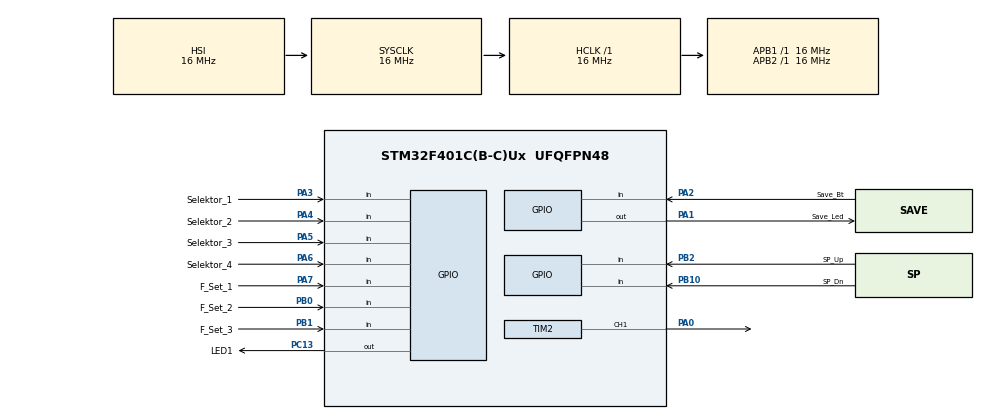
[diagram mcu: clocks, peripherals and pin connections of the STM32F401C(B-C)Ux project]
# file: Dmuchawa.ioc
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Mcu.Family=STM32F4
Mcu.Name=STM32F401C(B-C)Ux
Mcu.Package=UFQFPN48
NVIC.PriorityGroup=NVIC_PRIORITYGROUP_4
PA0-WKUP.GPIO_Speed=GPIO_SPEED_FREQ_HIGH
PA0-WKUP.Signal=S_TIM2_CH1_ETR
PA1.GPIO_Label=Save_Led
PA1.Signal=GPIO_Output
PA13.Mode=Serial_Wire
PA13.Signal=SYS_JTMS-SWDIO
PA14.Mode=Serial_Wire
PA14.Signal=SYS_JTCK-SWCLK
PA2.GPIO_Label=Save_Bt
PA2.GPIO_PuPd=GPIO_PULLUP
PA2.Signal=GPIO_Input
PA3.GPIO_Label=Selektor_1
PA3.GPIO_PuPd=GPIO_PULLUP
PA3.Signal=GPIO_Input
PA4.GPIO_Label=Selektor_2
PA4.GPIO_PuPd=GPIO_PULLUP
PA4.Signal=GPIO_Input
PA5.GPIO_Label=Selektor_3
PA5.GPIO_PuPd=GPIO_PULLUP
PA5.Signal=GPIO_Input
PA6.GPIO_Label=Selektor_4
PA6.GPIO_PuPd=GPIO_PULLUP
PA6.Signal=GPIO_Input
PA7.GPIO_Label=F_Set_1
PA7.GPIO_PuPd=GPIO_PULLUP
PA7.Signal=GPIO_Input
PB0.GPIO_Label=F_Set_2
PB0.GPIO_PuPd=GPIO_PULLUP
PB0.Signal=GPIO_Input
PB1.GPIO_Label=F_Set_3
PB1.GPIO_PuPd=GPIO_PULLUP
PB1.Signal=GPIO_Input
PB10.GPIO_Label=SP_Dn
PB10.GPIO_PuPd=GPIO_PULLUP
PB10.Signal=GPIO_Input
PB2.GPIO_Label=SP_Up
PB2.GPIO_PuPd=GPIO_PULLUP
PB2.Signal=GPIO_Input
PC13-ANTI_TAMP.GPIO_Label=LED1
PC13-ANTI_TAMP.GPIO_PuPd=GPIO_PULLUP
PC13-ANTI_TAMP.Signal=GPIO_Output
ProjectManager.HeapSize=0x200
ProjectManager.StackSize=0x400
ProjectManager.TargetToolchain=STM32CubeIDE
RCC.AHBFreq_Value=16000000
RCC.APB1Freq_Value=16000000
RCC.APB2Freq_Value=16000000
RCC.CortexFreq_Value=16000000
RCC.HSE_VALUE=25000000
RCC.HSI_VALUE=16000000
RCC.LSE_VALUE=32768
RCC.SYSCLKFreq_VALUE=16000000
RCC.VCOOutputFreq_Value=192000000
SH.S_TIM2_CH1_ETR.0=TIM2_CH1,PWM Generation1 CH1
TIM2.AutoReloadPreload=TIM_AUTORELOAD_PRELOAD_ENABLE
TIM2.Channel-PWM\ Generation1\ CH1=TIM_CHANNEL_1
TIM2.Period=9999
TIM2.Prescaler=15
board=custom

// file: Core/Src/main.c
/* USER CODE BEGIN Header */
/**
 ******************************************************************************
 * @file           : main.c
 * @brief          : Main program body
 ******************************************************************************
 * @attention
 *
 * Copyright (c) 2025 STMicroelectronics.
 * All rights reserved.
 *
 * This software is licensed under terms that can be found in the LICENSE file
 * in the root directory of this software component.
 * If no LICENSE file comes with this software, it is provided AS-IS.
 *
 ******************************************************************************
 */
/* USER CODE END Header */
#include "main.h"
#include "tim.h"
#include "gpio.h"

/* USER CODE BEGIN PTD */
uint8_t prev_bieg = 255; // 255 = żaden bieg wybrany
uint8_t current_bieg = 255;
int8_t Offset_for1 = 0;
int8_t Offset_for2 = 0;
int8_t Offset_for3 = 0;
int8_t Offset_for4 = 0;
uint32_t last_led_toggle = 0;
uint32_t led_interval_ms = 1000;  // domyślnie 1 Hz
uint32_t last_button_time = 0;
uint32_t debounce_time_ms = 200;
typedef struct
{
    uint16_t signature;
    int8_t Offset_for1;
    int8_t Offset_for2;
    int8_t Offset_for3;
    int8_t Offset_for4;
    uint16_t reserved;
} OffsetsFlash_t;

OffsetsFlash_t saved_offsets;
uint8_t offsets_changed = 0;

/* USER CODE END PTD */

/* USER CODE BEGIN PD */

#define SAVE_DEBOUNCE_MS  200
#define FLASH_OFFSETS_ADDR  0x08020000U
#define FLASH_SECTOR        FLASH_SECTOR_5
#define FLASH_SIGNATURE     0x55AA

/* USER CODE END PD */

void SystemClock_Config(void);
/* USER CODE BEGIN PFP */
void HandleSaveButton(void);
uint8_t CheckOffsetsChanged(void);
void SaveOffsetsToFlash(int8_t o1, int8_t o2, int8_t o3, int8_t o4);
OffsetsFlash_t* LoadOffsetsFromFlash(void);
/* USER CODE END PFP */

int main(void)
{

  /* MCU Configuration--------------------------------------------------------*/

  /* Reset of all peripherals, Initializes the Flash interface and the Systick. */
  HAL_Init();

  /* USER CODE BEGIN Init */
  OffsetsFlash_t* loaded = LoadOffsetsFromFlash();

  if (loaded != NULL)
  {
      saved_offsets = *loaded;

      Offset_for1 = saved_offsets.Offset_for1;
      Offset_for2 = saved_offsets.Offset_for2;
      Offset_for3 = saved_offsets.Offset_for3;
      Offset_for4 = saved_offsets.Offset_for4;
  }
  else
  {
      Offset_for1 = 0;
      Offset_for2 = 0;
      Offset_for3 = 0;
      Offset_for4 = 0;

      saved_offsets.Offset_for1 = 0;
      saved_offsets.Offset_for2 = 0;
      saved_offsets.Offset_for3 = 0;
      saved_offsets.Offset_for4 = 0;
  }
  /* USER CODE END Init */

  /* Configure the system clock */
  SystemClock_Config();

  /* Initialize all configured peripherals */
  MX_GPIO_Init();
  MX_TIM2_Init();
  /* USER CODE BEGIN 2 */
	uint32_t pwm_period = 0;

	if (HAL_GPIO_ReadPin(GPIOA, GPIO_PIN_7) == GPIO_PIN_RESET) {
		// F_Set_1 założona → 500 Hz
		pwm_period = 2000 - 1; // ARR = 1999 → 1 MHz / 2000 = 500 Hz
	} else if (HAL_GPIO_ReadPin(GPIOB, GPIO_PIN_0) == GPIO_PIN_RESET) {
		// F_Set_2 założona → 1 kHz
		pwm_period = 1000 - 1; // ARR = 999 → 1 MHz / 1000 = 1 kHz
	} else if (HAL_GPIO_ReadPin(GPIOB, GPIO_PIN_1) == GPIO_PIN_RESET) {
		// F_Set_3 założona → 2 kHz
		pwm_period = 500 - 1; // ARR = 499 → 1 MHz / 500 = 2 kHz
	} else {
		// Tryb testowy → wszystko OFF
		pwm_period = 10000 - 1; // ARR = 9999 → 1 MHz / 10000 = 100 Hz
	}

	// ustawić auto-reload timera
	__HAL_TIM_SET_AUTORELOAD(&htim2, pwm_period);
	__HAL_TIM_SET_COMPARE(&htim2, TIM_CHANNEL_1, 0);

	if (current_bieg == 255)
	{
	    GPIO_InitTypeDef GPIO_InitStruct = {0};
	    GPIO_InitStruct.Pin = GPIO_PIN_0;
	    GPIO_InitStruct.Mode = GPIO_MODE_OUTPUT_PP;
	    GPIO_InitStruct.Pull = GPIO_NOPULL;
	    GPIO_InitStruct.Speed = GPIO_SPEED_FREQ_HIGH;
	    HAL_GPIO_Init(GPIOA, &GPIO_InitStruct);
	    HAL_GPIO_WritePin(GPIOA, GPIO_PIN_0, GPIO_PIN_RESET);
	}

  /* USER CODE END 2 */

  /* Infinite loop */
  /* USER CODE BEGIN WHILE */
	while (1) {

		// Odczyt selektora
		if (HAL_GPIO_ReadPin(GPIOA, GPIO_PIN_3) == GPIO_PIN_RESET)
			current_bieg = 1;
		else if (HAL_GPIO_ReadPin(GPIOA, GPIO_PIN_4) == GPIO_PIN_RESET)
			current_bieg = 2;
		else if (HAL_GPIO_ReadPin(GPIOA, GPIO_PIN_5) == GPIO_PIN_RESET)
			current_bieg = 3;
		else if (HAL_GPIO_ReadPin(GPIOA, GPIO_PIN_6) == GPIO_PIN_RESET)
			current_bieg = 4;
		else
			current_bieg = 255;

		// ustawienie częstotliwości migania LED w zależności od biegu
		switch (current_bieg) {
		case 1:
			led_interval_ms = 1000; // 1 Hz
			break;
		case 2:
			led_interval_ms = 333;  // ~3 Hz
			break;
		case 3:
			led_interval_ms = 200;  // 5 Hz
			break;
		case 4:
			led_interval_ms = 100;  // 10 Hz
			break;
		default:
			led_interval_ms = 2000; // brak biegu → 0.5 Hz
			break;
		}

		// Odczyt przycisków SP_Up i SP_Dn
		uint8_t sp_up_pressed = (HAL_GPIO_ReadPin(GPIOB, GPIO_PIN_2)
				== GPIO_PIN_RESET);
		uint8_t sp_dn_pressed = (HAL_GPIO_ReadPin(GPIOB, GPIO_PIN_10)
				== GPIO_PIN_RESET);

		if ((HAL_GetTick() - last_button_time) > debounce_time_ms)
		{
		    if (sp_up_pressed)
		    {
		        switch (current_bieg)
		        {
		            case 1: if (Offset_for1 < 20) Offset_for1 += 1; break;
		            case 2: if (Offset_for2 < 20) Offset_for2 += 1; break;
		            case 3: if (Offset_for3 < 20) Offset_for3 += 1; break;
		            case 4: if (Offset_for4 < 20) Offset_for4 += 1; break;
		        }
		        last_button_time = HAL_GetTick();
		    }
		    else if (sp_dn_pressed)
		    {
		        switch (current_bieg)
		        {
		        	case 1: if (Offset_for1 > -20) Offset_for1 -= 1; break;
		            case 2: if (Offset_for2 > -20) Offset_for2 -= 1; break;
		            case 3: if (Offset_for3 > -20) Offset_for3 -= 1; break;
		            case 4: if (Offset_for4 > -20) Offset_for4 -= 1; break;
		        }
		        last_button_time = HAL_GetTick();
		    }
		}

		// Ograniczenie offsetów do przedziału -20% ... +20%
		if (Offset_for1 > 20)
			Offset_for1 = 20;
		if (Offset_for1 < -20)
			Offset_for1 = -20;

		if (Offset_for2 > 20)
			Offset_for2 = 20;
		if (Offset_for2 < -20)
			Offset_for2 = -20;

		if (Offset_for3 > 20)
			Offset_for3 = 20;
		if (Offset_for3 < -20)
			Offset_for3 = -20;

		if (Offset_for4 > 20)
			Offset_for4 = 20;
		if (Offset_for4 < -20)
			Offset_for4 = -20;

		// Sprawdzanie, czy zmienił się bieg
		if (current_bieg != prev_bieg) {
			if (current_bieg == 255) {
				// Żaden bieg nie jest wybrany → wyłącz PWM
				HAL_TIM_PWM_Stop(&htim2, TIM_CHANNEL_1);

				// Przełącz pin na GPIO LOW
				GPIO_InitTypeDef GPIO_InitStruct = { 0 };
				GPIO_InitStruct.Pin = GPIO_PIN_0;
				GPIO_InitStruct.Mode = GPIO_MODE_OUTPUT_PP;
				GPIO_InitStruct.Pull = GPIO_NOPULL;
				GPIO_InitStruct.Speed = GPIO_SPEED_FREQ_HIGH;
				HAL_GPIO_Init(GPIOA, &GPIO_InitStruct);

				HAL_GPIO_WritePin(GPIOA, GPIO_PIN_0, GPIO_PIN_RESET);
			} else {
				// Przełącz pin z powrotem na Alternate Function (PWM)
				GPIO_InitTypeDef GPIO_InitStruct = { 0 };
				GPIO_InitStruct.Pin = GPIO_PIN_0;
				GPIO_InitStruct.Mode = GPIO_MODE_AF_PP;
				GPIO_InitStruct.Pull = GPIO_NOPULL;
				GPIO_InitStruct.Speed = GPIO_SPEED_FREQ_HIGH;
				GPIO_InitStruct.Alternate = GPIO_AF1_TIM2;
				HAL_GPIO_Init(GPIOA, &GPIO_InitStruct);

				if (HAL_TIM_PWM_Start(&htim2, TIM_CHANNEL_1) != HAL_OK)
				{
				    Error_Handler();
				}

				uint32_t duty_percent = 0;

				switch (current_bieg) {
				case 1:
					duty_percent = 25 + Offset_for1;
					break;
				case 2:
					duty_percent = 50 + Offset_for2;
					break;
				case 3:
					duty_percent = 75 + Offset_for3;
					break;
				case 4:
					duty_percent = 100 + Offset_for4;
					break;
				default:
					duty_percent = 0;
					break;
				}

				// Ogranicz duty_percent do 0…100 %
				if (duty_percent > 100)
					duty_percent = 100;
				if (duty_percent < 0)
					duty_percent = 0;

				uint32_t duty = ((pwm_period + 1) * duty_percent) / 100;
				if (duty > pwm_period)
				    duty = pwm_period;

				__HAL_TIM_SET_COMPARE(&htim2, TIM_CHANNEL_1, duty);
			}

			prev_bieg = current_bieg;
		}

		// miganie LED
		if (HAL_GetTick() - last_led_toggle >= led_interval_ms) {
			HAL_GPIO_TogglePin(GPIOC, GPIO_PIN_13);
			last_led_toggle = HAL_GetTick();
		}

		HandleSaveButton();

		if (CheckOffsetsChanged() && current_bieg != 255)
		{
		    uint32_t duty_percent = 0;

		    switch (current_bieg) {
		        case 1: duty_percent = 25 + Offset_for1; break;
		        case 2: duty_percent = 50 + Offset_for2; break;
		        case 3: duty_percent = 75 + Offset_for3; break;
		        case 4: duty_percent = 100 + Offset_for4; break;
		        default: duty_percent = 0; break;
		    }

		    if (duty_percent > 100) duty_percent = 100;
		    if (duty_percent < 0)   duty_percent = 0;

		    uint32_t duty = ((pwm_period + 1) * duty_percent) / 100;
		    if (duty > pwm_period) duty = pwm_period;

		    __HAL_TIM_SET_COMPARE(&htim2, TIM_CHANNEL_1, duty);
		}
    /* USER CODE END WHILE */

	}
}

void SystemClock_Config(void)
{
  RCC_OscInitTypeDef RCC_OscInitStruct = {0};
  RCC_ClkInitTypeDef RCC_ClkInitStruct = {0};

  /** Configure the main internal regulator output voltage
  */
  __HAL_RCC_PWR_CLK_ENABLE();
  __HAL_PWR_VOLTAGESCALING_CONFIG(PWR_REGULATOR_VOLTAGE_SCALE2);

  /** Initializes the RCC Oscillators according to the specified parameters
  * in the RCC_OscInitTypeDef structure.
  */
  RCC_OscInitStruct.OscillatorType = RCC_OSCILLATORTYPE_HSI;
  RCC_OscInitStruct.HSIState = RCC_HSI_ON;
  RCC_OscInitStruct.HSICalibrationValue = RCC_HSICALIBRATION_DEFAULT;
  RCC_OscInitStruct.PLL.PLLState = RCC_PLL_NONE;
  if (HAL_RCC_OscConfig(&RCC_OscInitStruct) != HAL_OK)
  {
    Error_Handler();
  }

  /** Initializes the CPU, AHB and APB buses clocks
  */
  RCC_ClkInitStruct.ClockType = RCC_CLOCKTYPE_HCLK|RCC_CLOCKTYPE_SYSCLK
                              |RCC_CLOCKTYPE_PCLK1|RCC_CLOCKTYPE_PCLK2;
  RCC_ClkInitStruct.SYSCLKSource = RCC_SYSCLKSOURCE_HSI;
  RCC_ClkInitStruct.AHBCLKDivider = RCC_SYSCLK_DIV1;
  RCC_ClkInitStruct.APB1CLKDivider = RCC_HCLK_DIV1;
  RCC_ClkInitStruct.APB2CLKDivider = RCC_HCLK_DIV1;

  if (HAL_RCC_ClockConfig(&RCC_ClkInitStruct, FLASH_LATENCY_0) != HAL_OK)
  {
    Error_Handler();
  }
}

/* USER CODE BEGIN 4 */
void SaveOffsetsToFlash(int8_t o1, int8_t o2, int8_t o3, int8_t o4)
{
    OffsetsFlash_t offsets;
    offsets.signature = FLASH_SIGNATURE;
    offsets.Offset_for1 = o1;
    offsets.Offset_for2 = o2;
    offsets.Offset_for3 = o3;
    offsets.Offset_for4 = o4;

    HAL_FLASH_Unlock();

    // kasuj sektor
    FLASH_EraseInitTypeDef EraseInitStruct = {0};
    uint32_t SectorError;

    EraseInitStruct.TypeErase = FLASH_TYPEERASE_SECTORS;
    EraseInitStruct.Sector = FLASH_SECTOR;
    EraseInitStruct.NbSectors = 1;
    EraseInitStruct.VoltageRange = FLASH_VOLTAGE_RANGE_3;

    if (HAL_FLASHEx_Erase(&EraseInitStruct, &SectorError) != HAL_OK)
    {
        HAL_FLASH_Lock();
        return;
    }

    // zapisujemy dane słowo po słowie
    uint32_t* pdata = (uint32_t*)&offsets;

    for (uint32_t i = 0; i < (sizeof(OffsetsFlash_t) + 3)/4; i++)
    {
        if (HAL_FLASH_Program(FLASH_TYPEPROGRAM_WORD,
                              FLASH_OFFSETS_ADDR + i*4,
                              pdata[i]) != HAL_OK)
        {
            HAL_FLASH_Lock();
            return;
        }
    }

    HAL_FLASH_Lock();
}

OffsetsFlash_t* LoadOffsetsFromFlash(void)
{
    OffsetsFlash_t* ptr = (OffsetsFlash_t*)FLASH_OFFSETS_ADDR;
    if (ptr->signature == FLASH_SIGNATURE)
    {
        return ptr;
    }
    else
    {
        return NULL;
    }
}

uint8_t CheckOffsetsChanged(void)
{
    if (Offset_for1 != saved_offsets.Offset_for1) return 1;
    if (Offset_for2 != saved_offsets.Offset_for2) return 1;
    if (Offset_for3 != saved_offsets.Offset_for3) return 1;
    if (Offset_for4 != saved_offsets.Offset_for4) return 1;
    return 0;
}

void HandleSaveButton(void)
{
    static uint32_t last_save_time = 0;

    // zapal LED jeśli zmienione offsety
    if (CheckOffsetsChanged())
    {
        HAL_GPIO_WritePin(GPIOA, GPIO_PIN_1, GPIO_PIN_SET);
    }
    else
    {
        HAL_GPIO_WritePin(GPIOA, GPIO_PIN_1, GPIO_PIN_RESET);
    }

    uint8_t save_pressed = (HAL_GPIO_ReadPin(GPIOA, GPIO_PIN_2) == GPIO_PIN_RESET);
    static uint8_t prev_save_pressed = 0;
    if (save_pressed && !prev_save_pressed && (HAL_GetTick() - last_save_time > SAVE_DEBOUNCE_MS))
    {
        if (CheckOffsetsChanged())
        {
            // Zapisz offsety do flash
            SaveOffsetsToFlash(Offset_for1, Offset_for2, Offset_for3, Offset_for4);

            // Zaktualizuj saved_offsets
            saved_offsets.Offset_for1 = Offset_for1;
            saved_offsets.Offset_for2 = Offset_for2;
            saved_offsets.Offset_for3 = Offset_for3;
            saved_offsets.Offset_for4 = Offset_for4;

            // Zgaś SaveLed po zapisie
            HAL_GPIO_WritePin(GPIOA, GPIO_PIN_1, GPIO_PIN_RESET);
        }

        last_save_time = HAL_GetTick();
    }
    prev_save_pressed = save_pressed;
}

/* USER CODE END 4 */

void Error_Handler(void)
{
	__disable_irq();
	while (1) {
	}
}
